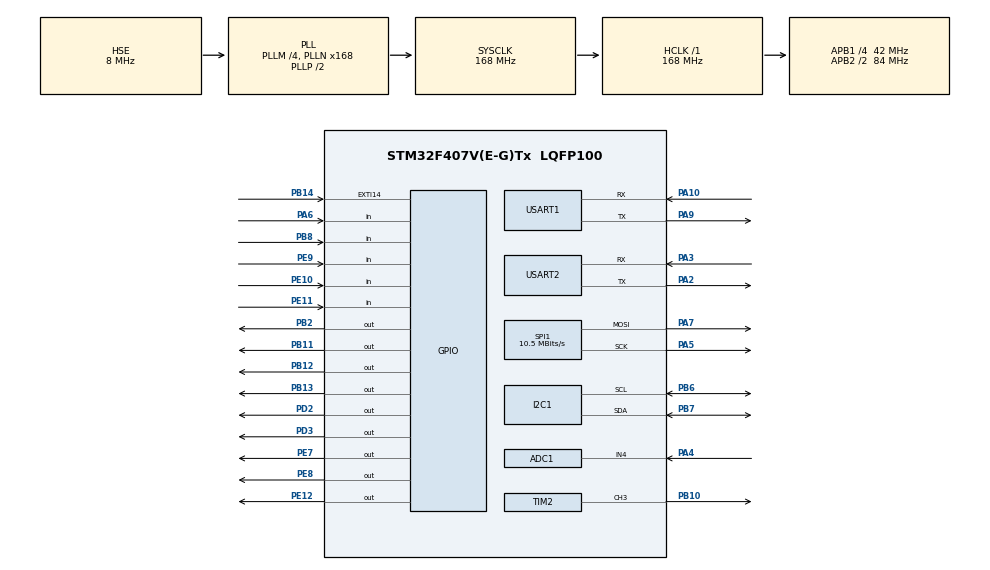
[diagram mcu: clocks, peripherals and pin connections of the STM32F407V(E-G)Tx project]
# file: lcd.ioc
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ADC1.Channel-1\#ChannelRegularConversion=ADC_CHANNEL_4
ADC1.ContinuousConvMode=ENABLE
ADC1.NbrOfConversionFlag=1
ADC1.Rank-1\#ChannelRegularConversion=1
ADC1.SamplingTime-1\#ChannelRegularConversion=ADC_SAMPLETIME_3CYCLES
ADC1.master=1
Dma.Request0=SPI1_TX
Dma.Request1=USART2_RX
Dma.SPI1_TX.0.Direction=DMA_MEMORY_TO_PERIPH
Dma.SPI1_TX.0.FIFOMode=DMA_FIFOMODE_DISABLE
Dma.SPI1_TX.0.Instance=DMA2_Stream3
Dma.SPI1_TX.0.MemDataAlignment=DMA_MDATAALIGN_BYTE
Dma.SPI1_TX.0.MemInc=DMA_MINC_ENABLE
Dma.SPI1_TX.0.Mode=DMA_NORMAL
Dma.SPI1_TX.0.PeriphDataAlignment=DMA_PDATAALIGN_BYTE
Dma.SPI1_TX.0.PeriphInc=DMA_PINC_DISABLE
Dma.SPI1_TX.0.Priority=DMA_PRIORITY_HIGH
Dma.USART2_RX.1.Direction=DMA_PERIPH_TO_MEMORY
Dma.USART2_RX.1.FIFOMode=DMA_FIFOMODE_DISABLE
Dma.USART2_RX.1.Instance=DMA1_Stream5
Dma.USART2_RX.1.MemDataAlignment=DMA_MDATAALIGN_BYTE
Dma.USART2_RX.1.MemInc=DMA_MINC_ENABLE
Dma.USART2_RX.1.Mode=DMA_NORMAL
Dma.USART2_RX.1.PeriphDataAlignment=DMA_PDATAALIGN_BYTE
Dma.USART2_RX.1.PeriphInc=DMA_PINC_DISABLE
Dma.USART2_RX.1.Priority=DMA_PRIORITY_LOW
FREERTOS.Tasks01=defaultTask,24,128,StartDefaultTask,Default,NULL,Dynamic,NULL,NULL
FREERTOS.configTOTAL_HEAP_SIZE=15360
FREERTOS.configUSE_TICK_HOOK=1
Mcu.Family=STM32F4
Mcu.Name=STM32F407V(E-G)Tx
Mcu.Package=LQFP100
NVIC.DMA1_Stream5_IRQn=true\:5\:0\:true\:false\:true\:true\:false\:true\:true
NVIC.DMA2_Stream3_IRQn=true\:5\:0\:false\:false\:true\:true\:false\:true\:true
NVIC.EXTI15_10_IRQn=true\:5\:0\:true\:false\:true\:true\:true\:true\:true
NVIC.PriorityGroup=NVIC_PRIORITYGROUP_4
NVIC.TIM3_IRQn=true\:15\:0\:false\:false\:true\:false\:false\:true\:true
NVIC.TimeBase=TIM3_IRQn
NVIC.TimeBaseIP=TIM3
NVIC.USART2_IRQn=true\:5\:0\:true\:false\:true\:true\:true\:true\:true
PA10.Mode=Asynchronous
PA10.Signal=USART1_RX
PA13.Mode=Serial_Wire
PA13.Signal=SYS_JTMS-SWDIO
PA14.Mode=Serial_Wire
PA14.Signal=SYS_JTCK-SWCLK
PA2.Mode=Asynchronous
PA2.Signal=USART2_TX
PA3.Mode=Asynchronous
PA3.Signal=USART2_RX
PA4.Signal=ADCx_IN4
PA5.Mode=TX_Only_Simplex_Unidirect_Master
PA5.Signal=SPI1_SCK
PA6.GPIO_PuPd=GPIO_PULLUP
PA6.Signal=GPIO_Input
PA7.Mode=TX_Only_Simplex_Unidirect_Master
PA7.Signal=SPI1_MOSI
PA9.Mode=Asynchronous
PA9.Signal=USART1_TX
PB10.Signal=S_TIM2_CH3
PB11.Signal=GPIO_Output
PB12.Signal=GPIO_Output
PB13.Signal=GPIO_Output
PB14.GPIO_ModeDefaultEXTI=GPIO_MODE_IT_RISING
PB14.GPIO_PuPd=GPIO_PULLUP
PB14.Signal=GPXTI14
PB2.PinState=GPIO_PIN_SET
PB2.Signal=GPIO_Output
PB6.Mode=I2C
PB6.Signal=I2C1_SCL
PB7.Mode=I2C
PB7.Signal=I2C1_SDA
PB8.GPIO_PuPd=GPIO_PULLUP
PB8.Signal=GPIO_Input
PD2.PinState=GPIO_PIN_SET
PD2.Signal=GPIO_Output
PD3.PinState=GPIO_PIN_SET
PD3.Signal=GPIO_Output
PE10.GPIO_PuPd=GPIO_PULLUP
PE10.Signal=GPIO_Input
PE11.GPIO_PuPd=GPIO_PULLUP
PE11.Signal=GPIO_Input
PE12.Signal=GPIO_Output
PE7.PinState=GPIO_PIN_SET
PE7.Signal=GPIO_Output
PE8.Signal=GPIO_Output
PE9.GPIO_PuPd=GPIO_PULLUP
PE9.Signal=GPIO_Input
PH0-OSC_IN.Mode=HSE-External-Oscillator
PH0-OSC_IN.Signal=RCC_OSC_IN
PH1-OSC_OUT.Mode=HSE-External-Oscillator
PH1-OSC_OUT.Signal=RCC_OSC_OUT
ProjectManager.HeapSize=0x1000
ProjectManager.StackSize=0x4000
ProjectManager.TargetToolchain=MDK-ARM V5.32
RCC.48MHZClocksFreq_Value=84000000
RCC.AHBFreq_Value=168000000
RCC.APB1CLKDivider=RCC_HCLK_DIV4
RCC.APB1Freq_Value=42000000
RCC.APB1TimFreq_Value=84000000
RCC.APB2CLKDivider=RCC_HCLK_DIV2
RCC.APB2Freq_Value=84000000
RCC.APB2TimFreq_Value=168000000
RCC.CortexFreq_Value=168000000
RCC.HCLKFreq_Value=168000000
RCC.HSE_VALUE=8000000
RCC.HSI_VALUE=16000000
RCC.LSE_VALUE=32768
RCC.PLLM=4
RCC.PLLN=168
RCC.PLLSourceVirtual=RCC_PLLSOURCE_HSE
RCC.SYSCLKFreq_VALUE=168000000
RCC.SYSCLKSource=RCC_SYSCLKSOURCE_PLLCLK
RCC.VCOOutputFreq_Value=336000000
RTC.Format=RTC_FORMAT_BIN
SH.ADCx_IN4.0=ADC1_IN4,IN4
SH.S_TIM2_CH3.0=TIM2_CH3,PWM Generation3 CH3
SPI1.BaudRatePrescaler=SPI_BAUDRATEPRESCALER_8
SPI1.CalculateBaudRate=10.5 MBits/s
SPI1.Direction=SPI_DIRECTION_2LINES
SPI1.Mode=SPI_MODE_MASTER
SPI1.VirtualType=VM_MASTER
TIM2.AutoReloadPreload=TIM_AUTORELOAD_PRELOAD_ENABLE
TIM2.Channel-PWM\ Generation3\ CH3=TIM_CHANNEL_3
TIM2.Period=1000-1
TIM2.Prescaler=84-1
TIM5.Prescaler=84-1
USART1.VirtualMode=VM_ASYNC
USART2.VirtualMode=VM_ASYNC
VP_FREERTOS_VS_CMSIS_V2.Mode=CMSIS_V2
VP_RTC_VS_RTC_Activate.Mode=RTC_Enabled
VP_RTC_VS_RTC_Calendar.Mode=RTC_Calendar
VP_SYS_VS_tim3.Mode=TIM3
VP_TIM2_VS_ClockSourceINT.Mode=Internal
VP_TIM5_VS_ClockSourceINT.Mode=Internal
board=custom

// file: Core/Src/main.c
/* USER CODE BEGIN Header */
/**
  ******************************************************************************
  * @file           : main.c
  * @brief          : Main program body
  ******************************************************************************
  * @attention
  *
  * Copyright (c) 2024 STMicroelectronics.
  * All rights reserved.
  *
  * This software is licensed under terms that can be found in the LICENSE file
  * in the root directory of this software component.
  * If no LICENSE file comes with this software, it is provided AS-IS.
  *
  ******************************************************************************
  */
/* USER CODE END Header */
#include "main.h"
#include "cmsis_os.h"
#include "adc.h"
#include "dma.h"
#include "i2c.h"
#include "rtc.h"
#include "spi.h"
#include "tim.h"
#include "usart.h"
#include "gpio.h"

/* USER CODE BEGIN Includes */
#include "lcd.h"
#include "lvgl.h"
#include "lv_port_disp.h"
#include "lv_port_indev.h"
#include "lv_demo_benchmark.h"
#include "gui_guider.h"
#include "events_init.h"
#include "dht11.h"
#include "beep.h"
#include "relay.h"
#include "gy302.h"
#include "stdio.h"
#include "esp01s.h"
#include "mq2.h"
#include "mqtt.h"
#include "mqtt_config.h"
/* USER CODE END Includes */

void SystemClock_Config(void);
void MX_FREERTOS_Init(void);
/* USER CODE BEGIN PFP */

bool relay_status = false;

uint16_t mqtt_send_interval = 5000;

uint16_t brightness_pwm = 499;
uint16_t brightness_percentage = 50;
SensorData_threshold_t threshold_data={
  .humi=70,
  .temp=30,
  .mq2=80,
  .light=100
}; //传感器阈�?????

/* USER CODE END PFP */

/* USER CODE BEGIN 0 */

lv_ui guider_ui;

/* USER CODE END 0 */

int main(void)
{

  /* MCU Configuration--------------------------------------------------------*/

  /* Reset of all peripherals, Initializes the Flash interface and the Systick. */
  HAL_Init();

  /* Configure the system clock */
  SystemClock_Config();

  /* Initialize all configured peripherals */
  MX_GPIO_Init();
  MX_DMA_Init();
  MX_SPI1_Init();
  MX_USART1_UART_Init();
  MX_USART2_UART_Init();
  MX_I2C1_Init();
  MX_ADC1_Init();
  MX_TIM5_Init();
  MX_RTC_Init();
  MX_TIM2_Init();
  /* USER CODE BEGIN 2 */

 // 初始化报�?
  BEEP_OFF;
	RELAY_OFF;
  /*传感器硬件初始化*/
  //DHT11通过cubemx配置引脚   GPIOE8
  //MQ2通过cubemx配置adc      GPIOA4
  //蜂鸣器过cubemx配置引脚   GPIOE7
  //火焰传感器过外部中断配置  GPIOB14
  //继电器过cubemx配置引脚   GPIOB8
  //GY302过cubemx配置引脚    原继电器 现第�?个红�? PB8    原振动传感器 现第二个红外 PA6
  GY302_Init(); //使用软件i2c

  //WIFI初始�?
  ESP01S_Init();
  HAL_Delay(2000);
  // 获取网络时间并设置RTC
  uint32_t timestamp = ESP01S_GetNetworkTime();
  if(timestamp > 0) {
      RTC_SetTime_FromStamp(timestamp);
  }
  HAL_Delay(2000);
  // MQTT初始
  MQTT_Init();
  // 订阅消息
  MQTT_Subscribe(MQTT_USER_TOPIC);
  MQTT_Subscribe(MQTT_SUBSCRIBE_TOPIC);

  // 发布测试消息
  MQTT_Publish(MQTT_PUBLIC_TOPIC, "Hello World");

  printf("初始化成功\r\n");

  /* USER CODE END 2 */

  /* Init scheduler */
  osKernelInitialize();  /* Call init function for freertos objects (in freertos.c) */
  MX_FREERTOS_Init();

  /* Start scheduler */
  osKernelStart();

  /* We should never get here as control is now taken by the scheduler */
  /* Infinite loop */
  while (1)
  {

  }
}

void SystemClock_Config(void)
{
  RCC_OscInitTypeDef RCC_OscInitStruct = {0};
  RCC_ClkInitTypeDef RCC_ClkInitStruct = {0};

  /** Configure the main internal regulator output voltage
  */
  __HAL_RCC_PWR_CLK_ENABLE();
  __HAL_PWR_VOLTAGESCALING_CONFIG(PWR_REGULATOR_VOLTAGE_SCALE1);

  /** Initializes the RCC Oscillators according to the specified parameters
  * in the RCC_OscInitTypeDef structure.
  */
  RCC_OscInitStruct.OscillatorType = RCC_OSCILLATORTYPE_LSI|RCC_OSCILLATORTYPE_HSE;
  RCC_OscInitStruct.HSEState = RCC_HSE_ON;
  RCC_OscInitStruct.LSIState = RCC_LSI_ON;
  RCC_OscInitStruct.PLL.PLLState = RCC_PLL_ON;
  RCC_OscInitStruct.PLL.PLLSource = RCC_PLLSOURCE_HSE;
  RCC_OscInitStruct.PLL.PLLM = 4;
  RCC_OscInitStruct.PLL.PLLN = 168;
  RCC_OscInitStruct.PLL.PLLP = RCC_PLLP_DIV2;
  RCC_OscInitStruct.PLL.PLLQ = 4;
  if (HAL_RCC_OscConfig(&RCC_OscInitStruct) != HAL_OK)
  {
    Error_Handler();
  }

  /** Initializes the CPU, AHB and APB buses clocks
  */
  RCC_ClkInitStruct.ClockType = RCC_CLOCKTYPE_HCLK|RCC_CLOCKTYPE_SYSCLK
                              |RCC_CLOCKTYPE_PCLK1|RCC_CLOCKTYPE_PCLK2;
  RCC_ClkInitStruct.SYSCLKSource = RCC_SYSCLKSOURCE_PLLCLK;
  RCC_ClkInitStruct.AHBCLKDivider = RCC_SYSCLK_DIV1;
  RCC_ClkInitStruct.APB1CLKDivider = RCC_HCLK_DIV4;
  RCC_ClkInitStruct.APB2CLKDivider = RCC_HCLK_DIV2;

  if (HAL_RCC_ClockConfig(&RCC_ClkInitStruct, FLASH_LATENCY_5) != HAL_OK)
  {
    Error_Handler();
  }
}

void HAL_TIM_PeriodElapsedCallback(TIM_HandleTypeDef *htim)
{
  if (htim->Instance == TIM3) {
    HAL_IncTick();
  }
}

void Error_Handler(void)
{
  __disable_irq();
  while (1)
  {
  }
}

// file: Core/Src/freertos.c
/* USER CODE BEGIN Header */
/**
  ******************************************************************************
  * File Name          : freertos.c
  * Description        : Code for freertos applications
  ******************************************************************************
  * @attention
  *
  * Copyright (c) 2025 STMicroelectronics.
  * All rights reserved.
  *
  * This software is licensed under terms that can be found in the LICENSE file
  * in the root directory of this software component.
  * If no LICENSE file comes with this software, it is provided AS-IS.
  *
  ******************************************************************************
  */
/* USER CODE END Header */

#include "FreeRTOS.h"
#include "task.h"
#include "main.h"
#include "cmsis_os.h"

/* USER CODE BEGIN Includes */
#include "lvgl.h"
#include "lv_port_disp.h"
#include "lv_port_indev.h"
#include "gui_guider.h"
#include "events_init.h"
#include "lcd.h"
#include "dht11.h"
#include "beep.h"
#include "relay.h"
#include "gy302.h"
#include "stdio.h"
#include "esp01s.h"
#include "mq2.h"
#include "mqtt.h"
#include "mqtt_config.h"
#include "queue.h"
#include "timers.h"
#include "tim.h"
#include "rtc.h"

/* USER CODE END Includes */

/* USER CODE BEGIN PM */

#define LED1_ON() HAL_GPIO_WritePin(GPIOD, GPIO_PIN_3, GPIO_PIN_RESET)
#define LED1_OFF() HAL_GPIO_WritePin(GPIOD, GPIO_PIN_3, GPIO_PIN_SET)
#define LED2_ON() HAL_GPIO_WritePin(GPIOD, GPIO_PIN_2, GPIO_PIN_RESET)
#define LED2_OFF() HAL_GPIO_WritePin(GPIOD, GPIO_PIN_2, GPIO_PIN_SET)

/* USER CODE END PM */

/* Definitions for defaultTask */
osThreadId_t defaultTaskHandle;
const osThreadAttr_t defaultTask_attributes = {
  .name = "defaultTask",
  .stack_size = 128 * 4,
  .priority = (osPriority_t) osPriorityNormal,
};

/* USER CODE BEGIN FunctionPrototypes */
/* 定义传感器数据结构体 */
typedef struct {
    DHT11_Data_TypeDef dht11;
    uint8_t mq2_percent;
    uint32_t mq2_adc_value;
    uint16_t light_value;
    uint16_t current_people;
    uint16_t total_people;
} SensorData_t;

static SensorData_t sensorData;

static uint8_t ir1_last = 1;    // 1号红外上一次状态
static uint8_t ir2_last = 1;    // 2号红外上一次状态
static uint8_t last_trigger = 0;  // 最后触发的传感器
static uint16_t people_count = 0;   // 当前人数
static uint32_t total_people = 0;   // 历史总人数

#define SENSOR_TASK_STACK_SIZE 3 * 1024
#define DISPLAY_TASK_STACK_SIZE 2 * 1024
#define MQTT_TASK_STACK_SIZE 2*1024

#define SENSOR_TASK_PRIORITY osPriorityNormal1
#define DISPLAY_TASK_PRIORITY osPriorityNormal
#define MQTT_TASK_PRIORITY osPriorityNormal

/* 定义队列句柄 */
static QueueHandle_t sensorDataQueue;
#define QUEUE_LENGTH    2
#define QUEUE_ITEM_SIZE sizeof(SensorData_t)

TimerHandle_t flame_timer = NULL;

static void flame_timer_callback(TimerHandle_t xTimer)
{
  flame_status = false;
}

void mqttTask(void *argument);
void displayTask(void *argument);
void sensorTask(void *argument);
osThreadId_t sensorTaskHandle;
const osThreadAttr_t sensorTask_attributes = {
  .name = "sensorTask",
  .stack_size = SENSOR_TASK_STACK_SIZE,
  .priority = (osPriority_t) SENSOR_TASK_PRIORITY,
};

osThreadId_t displayTaskHandle;
const osThreadAttr_t displayTask_attributes = {
  .name = "displayTask",
  .stack_size = DISPLAY_TASK_STACK_SIZE,
  .priority = (osPriority_t) DISPLAY_TASK_PRIORITY,
};

osThreadId_t mqttTaskHandle;
const osThreadAttr_t mqttTask_attributes = {
  .name = "mqttTask",
  .stack_size = MQTT_TASK_STACK_SIZE,
  .priority = (osPriority_t) MQTT_TASK_PRIORITY,
};
osMutexId_t lvgl_MutexHandle;
const osMutexAttr_t lvgl_Mutex_attributes = {
  .name = "lvgl_Mutex"
};

osThreadId_t ledTaskHandle;
const osThreadAttr_t ledTask_attributes = {
  .name = "ledTask",
  .stack_size = 512,
  .priority = (osPriority_t) osPriorityNormal,
};

/* USER CODE END FunctionPrototypes */

void StartDefaultTask(void *argument);

void MX_FREERTOS_Init(void); /* (MISRA C 2004 rule 8.1) */

/* Hook prototypes */
void vApplicationTickHook(void);

/* USER CODE BEGIN 3 */
void vApplicationTickHook( void )
{
	lv_tick_inc(1);
   /* This function will be called by each tick interrupt if
   configUSE_TICK_HOOK is set to 1 in FreeRTOSConfig.h. User code can be
   added here, but the tick hook is called from an interrupt context, so
   code must not attempt to block, and only the interrupt safe FreeRTOS API
   functions can be used (those that end in FromISR()). */
}

typedef struct {
  uint8_t hour;
  uint8_t min;
  uint8_t sec;
  uint16_t year;
  uint8_t month;
  uint8_t date;
} TimeData_t;

static TimeData_t timeData;

void ledTask(void *argument)
{
  // 设置时间（假设从网络获取的时间戳为network_timestamp�???
    RTC_SetTime_FromStamp(1741881560);
    for(;;)
    {
        HAL_GPIO_TogglePin(GPIOB, GPIO_PIN_2);
        osDelay(pdMS_TO_TICKS(1000));
    }
}

/* 修改LVGL定时器回调函�??????? */
void sensor_timer_callback(lv_timer_t *timer)
{
      static SensorData_t receivedData;
      static char time_str[20];
      static char date_str[20];
      char total_people_str[10];
      char current_people_str[10];

     sprintf(total_people_str, "%d", sensorData.total_people);
     sprintf(current_people_str, "%d", sensorData.current_people);

     lv_label_set_text(guider_ui.main_screen_label_15, total_people_str);
     lv_label_set_text(guider_ui.main_screen_label_13, current_people_str);

      RTC_GetTime(&timeData.hour, &timeData.min, &timeData.sec);
      RTC_GetDate(&timeData.year, &timeData.month, &timeData.date, NULL);

      sprintf(time_str, "%02d:%02d:%02d", timeData.hour, timeData.min, timeData.sec);
      sprintf(date_str, "%d-%02d-%02d", timeData.year, timeData.month, timeData.date);

      lv_label_set_text(guider_ui.main_screen_label_5, time_str);
      lv_label_set_text(guider_ui.main_screen_label_6, date_str);

    // 从队列接收数据，设置超时时间
    if(xQueueReceive(sensorDataQueue, &receivedData, 0) == pdPASS)
    {
        char light_str[10];
        char temp_str[10];
        char humi_str[10];
        char fumes_str[10];

        if(receivedData.dht11.temp_int > 0 && receivedData.dht11.temp_int < 100)
        {
            snprintf(temp_str, sizeof(temp_str), "%d°C", receivedData.dht11.temp_int);
            lv_label_set_text(guider_ui.main_screen_label_temp_percentage, temp_str);
            lv_bar_set_value(guider_ui.main_screen_bar_temp, receivedData.dht11.temp_int, LV_ANIM_OFF);
        }

        if(receivedData.dht11.humi_int > 0 && receivedData.dht11.humi_int <= 100)
        {
            snprintf(humi_str, sizeof(humi_str), "%d%%", receivedData.dht11.humi_int);
            lv_label_set_text(guider_ui.main_screen_label_humi_percentage, humi_str);
            lv_bar_set_value(guider_ui.main_screen_bar_humi, receivedData.dht11.humi_int, LV_ANIM_OFF);
        }

        if(receivedData.mq2_percent <= 100)
        {
            snprintf(fumes_str, sizeof(fumes_str), "%d%%", receivedData.mq2_percent);
            lv_label_set_text(guider_ui.main_screen_label_fumes_percentage, fumes_str);
            lv_arc_set_value(guider_ui.main_screen_arc_fumes, receivedData.mq2_percent);
        }

        if(receivedData.light_value > 0)
        {
            snprintf(light_str, sizeof(light_str), "%d%%", receivedData.light_value);
            lv_label_set_text(guider_ui.main_screen_label_light_percentage, light_str);
            lv_arc_set_value(guider_ui.main_screen_arc_light, receivedData.light_value);
        }
        if(flame_status)
        {
            lv_led_set_color(guider_ui.main_screen_led_1, lv_color_hex(0xFF3030));
        }
        else
        {
            lv_led_set_color(guider_ui.main_screen_led_1, lv_color_hex(0xFFFFFF));
        }

    }
}

void UpdatePeopleCount(void)
{
    uint8_t ir1 = HAL_GPIO_ReadPin(GPIOB, GPIO_PIN_8);
    uint8_t ir2 = HAL_GPIO_ReadPin(GPIOA, GPIO_PIN_6);

    // 1号红外检测（低电平触发）
    if(ir1 == 0)  // 当前是低电平
    {
        if(ir1_last == 1)  // 上次是高电平，说明刚被触发
        {
            LED1_ON();
            if(last_trigger == 2)
            {
                if(people_count > 0)
                {
                    people_count--;
                }
                last_trigger = 0;
            }
            else
            {
                last_trigger = 1;
            }
        }
    }

    // 2号红外检测（低电平触发）
    if(ir2 == 0)  // 当前是低电平
    {
        if(ir2_last == 1)  // 上次是高电平，说明刚被触发
        {
            LED2_ON();
            if(last_trigger == 1)  //之前是1号触发
            {
                people_count++;
                total_people++;
                last_trigger = 0;
            }
            else
            {
                last_trigger = 2;
            }
        }
    }

    ir1_last = ir1;
    ir2_last = ir2;

    sensorData.current_people = people_count;
    sensorData.total_people = total_people;
}

/* USER CODE END 3 */

void MX_FREERTOS_Init(void) {
  /* USER CODE BEGIN Init */
	  lvgl_MutexHandle = osMutexNew(&lvgl_Mutex_attributes);
    // 创建队列
    sensorDataQueue = xQueueCreate(QUEUE_LENGTH, QUEUE_ITEM_SIZE);
    if(sensorDataQueue == NULL)
    {
        printf("Queue creation failed!\r\n");
        Error_Handler();
    }
    // 创建火焰定时
    flame_timer = xTimerCreate("flame_timer", pdMS_TO_TICKS(10000), pdFALSE, NULL, flame_timer_callback);
    if(flame_timer == NULL)
    {
        printf("Timer creation failed!\r\n");
        Error_Handler();
    }

  /* USER CODE END Init */

  /* Create the thread(s) */
  /* creation of defaultTask */
  defaultTaskHandle = osThreadNew(StartDefaultTask, NULL, &defaultTask_attributes);

  /* USER CODE BEGIN RTOS_THREADS */
  displayTaskHandle = osThreadNew(displayTask, NULL, &displayTask_attributes);
  sensorTaskHandle = osThreadNew(sensorTask, NULL, &sensorTask_attributes);
  // ledTaskHandle = osThreadNew(ledTask, NULL, &ledTask_attributes);
  mqttTaskHandle = osThreadNew(mqttTask, NULL, &mqttTask_attributes);
  /* USER CODE END RTOS_THREADS */

}

void StartDefaultTask(void *argument)
{
  /* USER CODE BEGIN StartDefaultTask */
	printf("Hello World\n");

  /* Infinite loop */
  for(;;)
  {
//    printf("Hello World\n");
//    osDelay(2000);
  }
  /* USER CODE END StartDefaultTask */
}

/* USER CODE BEGIN Application */
void displayTask(void *argument)
{

    TickType_t xLastWakeTime;

    lcd_set_dir(LCD_CROSSWISE_180);
    lcd_init();
    lv_init();
    lv_port_disp_init();
    lv_port_indev_init();
    HAL_TIM_PWM_Start(&htim2,TIM_CHANNEL_3);
    LCD_SetBrightness(brightness_pwm);
    setup_ui(&guider_ui);
    events_init(&guider_ui);

    for(;;)
    {

        osMutexAcquire(lvgl_MutexHandle, 0);
        lv_task_handler();
        osMutexRelease(lvgl_MutexHandle);

        vTaskDelay(pdMS_TO_TICKS(5));

    }
}

/* 传感器任�?*/
void sensorTask(void *argument)
{
    TickType_t xLastWakeTime;
    uint8_t retry_count;

    xLastWakeTime = xTaskGetTickCount();

    for(;;)
    {
        LED1_OFF();
        LED2_OFF();

         DHT11_ReadData((DHT11_Data_TypeDef*)&sensorData.dht11);
         Get_Mq2(&sensorData.mq2_adc_value, &sensorData.mq2_percent);
         sensorData.light_value = GY302_ReadLight();
				UpdatePeopleCount();
        if(xQueueSend(sensorDataQueue, &sensorData, 0) != pdPASS)
        {
            printf("Queue send failed!\r\n");
        }

				if(flame_status)
        {
          BEEP_ON;
          vTaskDelay(pdMS_TO_TICKS(60));
          BEEP_OFF;
        }

				if(sensorData.mq2_percent > threshold_data.mq2)
				{
          BEEP_ON;
          vTaskDelay(pdMS_TO_TICKS(60));
          BEEP_OFF;
        }else if(sensorData.light_value > 1000)
        {
          BEEP_ON;
          vTaskDelay(pdMS_TO_TICKS(60));
          BEEP_OFF;
        }else if(sensorData.dht11.temp_int > threshold_data.temp)
        {
          BEEP_ON;
          vTaskDelay(pdMS_TO_TICKS(60));
          BEEP_OFF;
        }else if(sensorData.dht11.humi_int > threshold_data.humi)
        {
          BEEP_ON;
          vTaskDelay(pdMS_TO_TICKS(60));
          BEEP_OFF;
        }else{
          BEEP_OFF;
        }

        vTaskDelayUntil(&xLastWakeTime, pdMS_TO_TICKS(1000));

    }
}

/* mqtt任务*/
void mqttTask(void *argument)
{
    TickType_t xLastWakeTime;
    SensorData_t sensorData;
    char mqtt_msg[256];

    osDelay(pdMS_TO_TICKS(2000));
    xLastWakeTime = xTaskGetTickCount();

    for(;;)
    {
        if(xQueuePeek(sensorDataQueue, &sensorData, pdMS_TO_TICKS(100)) == pdPASS)
        {
            sprintf(mqtt_msg, "{\\\"params\\\":{\\\"temperature\\\":%d.%d\\,\\\"Humidity\\\":%d.%d\\,\\\"LightLux\\\":%d\\,\\\"SmokeConcentration\\\":%.1f\\,\\\"Flame_State\\\":%d}}",
                    sensorData.dht11.temp_int,
                    sensorData.dht11.temp_dec,
                    sensorData.dht11.humi_int,
                    sensorData.dht11.humi_dec,
                    sensorData.light_value,
                    (float)sensorData.mq2_percent,
                    flame_status);

            MQTT_Publish(MQTT_PARAM_TOPIC, mqtt_msg);
        }

        vTaskDelayUntil(&xLastWakeTime, pdMS_TO_TICKS(mqtt_send_interval));
    }
}

/* USER CODE END Application */
